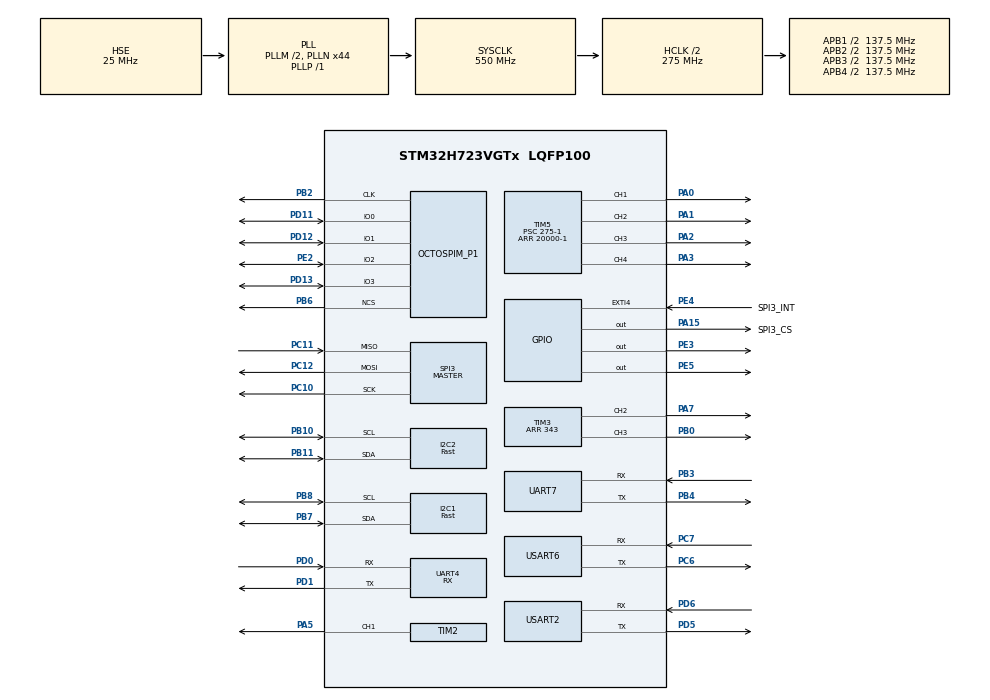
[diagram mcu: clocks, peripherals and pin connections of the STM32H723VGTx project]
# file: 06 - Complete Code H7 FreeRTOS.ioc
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CORTEX_M7.default_mode_Activation=1
Dma.I2C1_RX.2.Direction=DMA_PERIPH_TO_MEMORY
Dma.I2C1_RX.2.EventEnable=DISABLE
Dma.I2C1_RX.2.FIFOMode=DMA_FIFOMODE_DISABLE
Dma.I2C1_RX.2.Instance=DMA1_Stream0
Dma.I2C1_RX.2.MemDataAlignment=DMA_MDATAALIGN_BYTE
Dma.I2C1_RX.2.MemInc=DMA_MINC_ENABLE
Dma.I2C1_RX.2.Mode=DMA_NORMAL
Dma.I2C1_RX.2.PeriphDataAlignment=DMA_PDATAALIGN_BYTE
Dma.I2C1_RX.2.PeriphInc=DMA_PINC_DISABLE
Dma.I2C1_RX.2.Polarity=HAL_DMAMUX_REQ_GEN_RISING
Dma.I2C1_RX.2.Priority=DMA_PRIORITY_LOW
Dma.I2C1_RX.2.RequestNumber=1
Dma.I2C1_RX.2.SignalID=NONE
Dma.I2C1_RX.2.SyncEnable=DISABLE
Dma.I2C1_RX.2.SyncPolarity=HAL_DMAMUX_SYNC_NO_EVENT
Dma.I2C1_RX.2.SyncRequestNumber=1
Dma.I2C1_RX.2.SyncSignalID=NONE
Dma.I2C1_TX.3.Direction=DMA_MEMORY_TO_PERIPH
Dma.I2C1_TX.3.EventEnable=DISABLE
Dma.I2C1_TX.3.FIFOMode=DMA_FIFOMODE_DISABLE
Dma.I2C1_TX.3.Instance=DMA1_Stream1
Dma.I2C1_TX.3.MemDataAlignment=DMA_MDATAALIGN_BYTE
Dma.I2C1_TX.3.MemInc=DMA_MINC_ENABLE
Dma.I2C1_TX.3.Mode=DMA_NORMAL
Dma.I2C1_TX.3.PeriphDataAlignment=DMA_PDATAALIGN_BYTE
Dma.I2C1_TX.3.PeriphInc=DMA_PINC_DISABLE
Dma.I2C1_TX.3.Polarity=HAL_DMAMUX_REQ_GEN_RISING
Dma.I2C1_TX.3.Priority=DMA_PRIORITY_LOW
Dma.I2C1_TX.3.RequestNumber=1
Dma.I2C1_TX.3.SignalID=NONE
Dma.I2C1_TX.3.SyncEnable=DISABLE
Dma.I2C1_TX.3.SyncPolarity=HAL_DMAMUX_SYNC_NO_EVENT
Dma.I2C1_TX.3.SyncRequestNumber=1
Dma.I2C1_TX.3.SyncSignalID=NONE
Dma.I2C2_RX.6.Direction=DMA_PERIPH_TO_MEMORY
Dma.I2C2_RX.6.EventEnable=DISABLE
Dma.I2C2_RX.6.FIFOMode=DMA_FIFOMODE_DISABLE
Dma.I2C2_RX.6.Instance=DMA1_Stream6
Dma.I2C2_RX.6.MemDataAlignment=DMA_MDATAALIGN_BYTE
Dma.I2C2_RX.6.MemInc=DMA_MINC_ENABLE
Dma.I2C2_RX.6.Mode=DMA_NORMAL
Dma.I2C2_RX.6.PeriphDataAlignment=DMA_PDATAALIGN_BYTE
Dma.I2C2_RX.6.PeriphInc=DMA_PINC_DISABLE
Dma.I2C2_RX.6.Polarity=HAL_DMAMUX_REQ_GEN_RISING
Dma.I2C2_RX.6.Priority=DMA_PRIORITY_LOW
Dma.I2C2_RX.6.RequestNumber=1
Dma.I2C2_RX.6.SignalID=NONE
Dma.I2C2_RX.6.SyncEnable=DISABLE
Dma.I2C2_RX.6.SyncPolarity=HAL_DMAMUX_SYNC_NO_EVENT
Dma.I2C2_RX.6.SyncRequestNumber=1
Dma.I2C2_RX.6.SyncSignalID=NONE
Dma.I2C2_TX.7.Direction=DMA_MEMORY_TO_PERIPH
Dma.I2C2_TX.7.EventEnable=DISABLE
Dma.I2C2_TX.7.FIFOMode=DMA_FIFOMODE_DISABLE
Dma.I2C2_TX.7.Instance=DMA1_Stream7
Dma.I2C2_TX.7.MemDataAlignment=DMA_MDATAALIGN_BYTE
Dma.I2C2_TX.7.MemInc=DMA_MINC_ENABLE
Dma.I2C2_TX.7.Mode=DMA_NORMAL
Dma.I2C2_TX.7.PeriphDataAlignment=DMA_PDATAALIGN_BYTE
Dma.I2C2_TX.7.PeriphInc=DMA_PINC_DISABLE
Dma.I2C2_TX.7.Polarity=HAL_DMAMUX_REQ_GEN_RISING
Dma.I2C2_TX.7.Priority=DMA_PRIORITY_LOW
Dma.I2C2_TX.7.RequestNumber=1
Dma.I2C2_TX.7.SignalID=NONE
Dma.I2C2_TX.7.SyncEnable=DISABLE
Dma.I2C2_TX.7.SyncPolarity=HAL_DMAMUX_SYNC_NO_EVENT
Dma.I2C2_TX.7.SyncRequestNumber=1
Dma.I2C2_TX.7.SyncSignalID=NONE
Dma.Request0=SPI3_RX
Dma.Request1=SPI3_TX
Dma.Request2=I2C1_RX
Dma.Request3=I2C1_TX
Dma.Request4=TIM3_CH2
Dma.Request5=TIM3_CH3
Dma.Request6=I2C2_RX
Dma.Request7=I2C2_TX
Dma.SPI3_RX.0.Direction=DMA_PERIPH_TO_MEMORY
Dma.SPI3_RX.0.EventEnable=DISABLE
Dma.SPI3_RX.0.FIFOMode=DMA_FIFOMODE_DISABLE
Dma.SPI3_RX.0.Instance=DMA1_Stream2
Dma.SPI3_RX.0.MemDataAlignment=DMA_MDATAALIGN_BYTE
Dma.SPI3_RX.0.MemInc=DMA_MINC_ENABLE
Dma.SPI3_RX.0.Mode=DMA_NORMAL
Dma.SPI3_RX.0.PeriphDataAlignment=DMA_PDATAALIGN_BYTE
Dma.SPI3_RX.0.PeriphInc=DMA_PINC_DISABLE
Dma.SPI3_RX.0.Polarity=HAL_DMAMUX_REQ_GEN_RISING
Dma.SPI3_RX.0.Priority=DMA_PRIORITY_LOW
Dma.SPI3_RX.0.RequestNumber=1
Dma.SPI3_RX.0.SignalID=NONE
Dma.SPI3_RX.0.SyncEnable=DISABLE
Dma.SPI3_RX.0.SyncPolarity=HAL_DMAMUX_SYNC_NO_EVENT
Dma.SPI3_RX.0.SyncRequestNumber=1
Dma.SPI3_RX.0.SyncSignalID=NONE
Dma.SPI3_TX.1.Direction=DMA_MEMORY_TO_PERIPH
Dma.SPI3_TX.1.EventEnable=DISABLE
Dma.SPI3_TX.1.FIFOMode=DMA_FIFOMODE_DISABLE
Dma.SPI3_TX.1.Instance=DMA1_Stream3
Dma.SPI3_TX.1.MemDataAlignment=DMA_MDATAALIGN_BYTE
Dma.SPI3_TX.1.MemInc=DMA_MINC_ENABLE
Dma.SPI3_TX.1.Mode=DMA_NORMAL
Dma.SPI3_TX.1.PeriphDataAlignment=DMA_PDATAALIGN_BYTE
Dma.SPI3_TX.1.PeriphInc=DMA_PINC_DISABLE
Dma.SPI3_TX.1.Polarity=HAL_DMAMUX_REQ_GEN_RISING
Dma.SPI3_TX.1.Priority=DMA_PRIORITY_LOW
Dma.SPI3_TX.1.RequestNumber=1
Dma.SPI3_TX.1.SignalID=NONE
Dma.SPI3_TX.1.SyncEnable=DISABLE
Dma.SPI3_TX.1.SyncPolarity=HAL_DMAMUX_SYNC_NO_EVENT
Dma.SPI3_TX.1.SyncRequestNumber=1
Dma.SPI3_TX.1.SyncSignalID=NONE
Dma.TIM3_CH2.4.Direction=DMA_MEMORY_TO_PERIPH
Dma.TIM3_CH2.4.EventEnable=DISABLE
Dma.TIM3_CH2.4.FIFOMode=DMA_FIFOMODE_DISABLE
Dma.TIM3_CH2.4.Instance=DMA1_Stream4
Dma.TIM3_CH2.4.MemDataAlignment=DMA_MDATAALIGN_WORD
Dma.TIM3_CH2.4.MemInc=DMA_MINC_ENABLE
Dma.TIM3_CH2.4.Mode=DMA_NORMAL
Dma.TIM3_CH2.4.PeriphDataAlignment=DMA_PDATAALIGN_WORD
Dma.TIM3_CH2.4.PeriphInc=DMA_PINC_DISABLE
Dma.TIM3_CH2.4.Polarity=HAL_DMAMUX_REQ_GEN_RISING
Dma.TIM3_CH2.4.Priority=DMA_PRIORITY_LOW
Dma.TIM3_CH2.4.RequestNumber=1
Dma.TIM3_CH2.4.SignalID=NONE
Dma.TIM3_CH2.4.SyncEnable=DISABLE
Dma.TIM3_CH2.4.SyncPolarity=HAL_DMAMUX_SYNC_NO_EVENT
Dma.TIM3_CH2.4.SyncRequestNumber=1
Dma.TIM3_CH2.4.SyncSignalID=NONE
Dma.TIM3_CH3.5.Direction=DMA_MEMORY_TO_PERIPH
Dma.TIM3_CH3.5.EventEnable=DISABLE
Dma.TIM3_CH3.5.FIFOMode=DMA_FIFOMODE_DISABLE
Dma.TIM3_CH3.5.Instance=DMA1_Stream5
Dma.TIM3_CH3.5.MemDataAlignment=DMA_MDATAALIGN_WORD
Dma.TIM3_CH3.5.MemInc=DMA_MINC_ENABLE
Dma.TIM3_CH3.5.Mode=DMA_NORMAL
Dma.TIM3_CH3.5.PeriphDataAlignment=DMA_PDATAALIGN_WORD
Dma.TIM3_CH3.5.PeriphInc=DMA_PINC_DISABLE
Dma.TIM3_CH3.5.Polarity=HAL_DMAMUX_REQ_GEN_RISING
Dma.TIM3_CH3.5.Priority=DMA_PRIORITY_LOW
Dma.TIM3_CH3.5.RequestNumber=1
Dma.TIM3_CH3.5.SignalID=NONE
Dma.TIM3_CH3.5.SyncEnable=DISABLE
Dma.TIM3_CH3.5.SyncPolarity=HAL_DMAMUX_SYNC_NO_EVENT
Dma.TIM3_CH3.5.SyncRequestNumber=1
Dma.TIM3_CH3.5.SyncSignalID=NONE
FREERTOS.Tasks01=defaultTask,24,128,StartDefaultTask,Default,NULL,Dynamic,NULL,NULL;Task2,24,128,Task2_init,Default,NULL,Dynamic,NULL,NULL
FREERTOS.configUSE_NEWLIB_REENTRANT=1
I2C1.I2C_Speed_Mode=I2C_Fast
I2C1.Timing=0x00D049FB
I2C2.I2C_Speed_Mode=I2C_Fast
I2C2.Timing=0x00D049FB
Mcu.Family=STM32H7
Mcu.Name=STM32H723VGTx
Mcu.Package=LQFP100
NVIC.DMA1_Stream0_IRQn=true\:5\:0\:false\:false\:true\:true\:false\:true\:true
NVIC.DMA1_Stream1_IRQn=true\:5\:0\:false\:false\:true\:true\:false\:true\:true
NVIC.DMA1_Stream2_IRQn=true\:5\:0\:false\:false\:true\:true\:false\:true\:true
NVIC.DMA1_Stream3_IRQn=true\:5\:0\:false\:false\:true\:true\:false\:true\:true
NVIC.DMA1_Stream4_IRQn=true\:5\:0\:false\:false\:true\:true\:false\:true\:true
NVIC.DMA1_Stream5_IRQn=true\:5\:0\:false\:false\:true\:false\:false\:true\:true
NVIC.DMA1_Stream6_IRQn=true\:5\:0\:false\:false\:true\:true\:false\:true\:true
NVIC.DMA1_Stream7_IRQn=true\:5\:0\:false\:false\:true\:true\:false\:true\:true
NVIC.I2C1_ER_IRQn=true\:5\:0\:false\:false\:true\:true\:true\:true\:true
NVIC.I2C1_EV_IRQn=true\:5\:0\:false\:false\:true\:true\:true\:true\:true
NVIC.I2C2_ER_IRQn=true\:5\:0\:false\:false\:true\:true\:true\:true\:true
NVIC.I2C2_EV_IRQn=true\:5\:0\:false\:false\:true\:true\:true\:true\:true
NVIC.PriorityGroup=NVIC_PRIORITYGROUP_4
NVIC.SPI3_IRQn=true\:5\:0\:false\:false\:true\:true\:false\:true\:true
NVIC.TIM1_UP_IRQn=true\:15\:0\:false\:false\:true\:false\:false\:true\:true
NVIC.TIM3_IRQn=true\:5\:0\:false\:false\:true\:true\:true\:true\:true
NVIC.TimeBase=TIM1_UP_IRQn
NVIC.TimeBaseIP=TIM1
NVIC.UART4_IRQn=true\:5\:0\:false\:false\:true\:true\:true\:true\:true
NVIC.UART7_IRQn=true\:5\:0\:false\:false\:true\:true\:true\:true\:true
NVIC.USART6_IRQn=true\:5\:0\:false\:false\:true\:true\:true\:true\:true
OCTOSPI1.ChipSelectHighTime=2
OCTOSPI1.ClockMode=HAL_OSPI_CLOCK_MODE_3
OCTOSPI1.ClockPrescaler=3-1
OCTOSPI1.DeviceSize=23
OCTOSPI1.SampleShifting=HAL_OSPI_SAMPLE_SHIFTING_HALFCYCLE
PA0.Signal=S_TIM5_CH1
PA1.Signal=S_TIM5_CH2
PA15(JTDI).GPIO_Label=SPI3_CS
PA15(JTDI).PinState=GPIO_PIN_SET
PA15(JTDI).Signal=GPIO_Output
PA2.Signal=S_TIM5_CH3
PA3.Signal=S_TIM5_CH4
PA5.Signal=S_TIM2_CH1_ETR
PA7.Signal=S_TIM3_CH2
PB0.Signal=S_TIM3_CH3
PB10.Mode=I2C
PB10.Signal=I2C2_SCL
PB11.Mode=I2C
PB11.Signal=I2C2_SDA
PB2.Mode=O1_P1_CLK
PB2.Signal=OCTOSPIM_P1_CLK
PB3(JTDO/TRACESWO).Mode=Asynchronous
PB3(JTDO/TRACESWO).Signal=UART7_RX
PB4(NJTRST).Mode=Asynchronous
PB4(NJTRST).Signal=UART7_TX
PB6.Mode=OCTOSPI1_Port1_NCS
PB6.Signal=OCTOSPIM_P1_NCS
PB7.Mode=I2C
PB7.Signal=I2C1_SDA
PB8.Mode=I2C
PB8.Signal=I2C1_SCL
PC10.Mode=Full_Duplex_Master
PC10.Signal=SPI3_SCK
PC11.Mode=Full_Duplex_Master
PC11.Signal=SPI3_MISO
PC12.Mode=Full_Duplex_Master
PC12.Signal=SPI3_MOSI
PC6.Mode=Asynchronous
PC6.Signal=USART6_TX
PC7.Mode=Asynchronous
PC7.Signal=USART6_RX
PD0.Mode=Asynchronous
PD0.Signal=UART4_RX
PD1.Mode=Asynchronous
PD1.Signal=UART4_TX
PD11.Mode=OCTOSPI1_IOL_Port1L
PD11.Signal=OCTOSPIM_P1_IO0
PD12.Mode=OCTOSPI1_IOL_Port1L
PD12.Signal=OCTOSPIM_P1_IO1
PD13.Mode=OCTOSPI1_IOL_Port1L
PD13.Signal=OCTOSPIM_P1_IO3
PD5.Mode=Asynchronous
PD5.Signal=USART2_TX
PD6.Mode=Asynchronous
PD6.Signal=USART2_RX
PE2.Mode=OCTOSPI1_IOL_Port1L
PE2.Signal=OCTOSPIM_P1_IO2
PE3.Signal=GPIO_Output
PE4.GPIO_Label=SPI3_INT
PE4.Signal=GPXTI4
PE5.Signal=GPIO_Output
PH0-OSC_IN.Mode=HSE-External-Oscillator
PH0-OSC_IN.Signal=RCC_OSC_IN
PH1-OSC_OUT.Mode=HSE-External-Oscillator
PH1-OSC_OUT.Signal=RCC_OSC_OUT
ProjectManager.HeapSize=0x200
ProjectManager.StackSize=0x400
ProjectManager.TargetToolchain=STM32CubeIDE
RCC.ADCFreq_Value=50390625
RCC.APB1Freq_Value=137500000
RCC.APB2Freq_Value=137500000
RCC.APB3Freq_Value=137500000
RCC.APB4Freq_Value=137500000
RCC.CortexFreq_Value=550000000
RCC.D1PPRE=RCC_APB3_DIV2
RCC.D2PPRE1=RCC_APB1_DIV2
RCC.D2PPRE2=RCC_APB2_DIV2
RCC.D3PPRE=RCC_APB4_DIV2
RCC.DIVM1=2
RCC.DIVN1=44
RCC.DIVP1=1
RCC.DIVQ1=3
RCC.HCLKFreq_Value=275000000
RCC.HPRE=RCC_HCLK_DIV2
RCC.PLL2FRACN=0
RCC.PLL3FRACN=0
RCC.PLLFRACN=0
RCC.PLLSourceVirtual=RCC_PLLSOURCE_HSE
RCC.SYSCLKFreq_VALUE=550000000
RCC.SYSCLKSource=RCC_SYSCLKSOURCE_PLLCLK
RCC.USBFreq_Value=183333333.33333334
SH.S_TIM2_CH1_ETR.0=TIM2_CH1,PWM Generation1 CH1
SH.S_TIM3_CH2.0=TIM3_CH2,PWM Generation2 CH2
SH.S_TIM3_CH3.0=TIM3_CH3,PWM Generation3 CH3
SH.S_TIM5_CH1.0=TIM5_CH1,PWM Generation1 CH1
SH.S_TIM5_CH2.0=TIM5_CH2,PWM Generation2 CH2
SH.S_TIM5_CH3.0=TIM5_CH3,PWM Generation3 CH3
SH.S_TIM5_CH4.0=TIM5_CH4,PWM Generation4 CH4
SPI3.BaudRatePrescaler=SPI_BAUDRATEPRESCALER_8
SPI3.CLKPhase=SPI_PHASE_2EDGE
SPI3.CLKPolarity=SPI_POLARITY_HIGH
SPI3.CalculateBaudRate=22.916666 MBits/s
SPI3.DataSize=SPI_DATASIZE_8BIT
SPI3.Direction=SPI_DIRECTION_2LINES
SPI3.Mode=SPI_MODE_MASTER
SPI3.VirtualType=VM_MASTER
TIM2.AutoReloadPreload=TIM_AUTORELOAD_PRELOAD_ENABLE
TIM2.Channel-PWM\ Generation1\ CH1=TIM_CHANNEL_1
TIM2.OCFastMode_PWM-PWM\ Generation1\ CH1=TIM_OCFAST_ENABLE
TIM2.Period=249
TIM2.Prescaler=546
TIM3.AutoReloadPreload=TIM_AUTORELOAD_PRELOAD_ENABLE
TIM3.Channel-PWM\ Generation2\ CH2=TIM_CHANNEL_2
TIM3.Channel-PWM\ Generation3\ CH3=TIM_CHANNEL_3
TIM3.Period=343
TIM5.AutoReloadPreload=TIM_AUTORELOAD_PRELOAD_ENABLE
TIM5.Channel-PWM\ Generation1\ CH1=TIM_CHANNEL_1
TIM5.Channel-PWM\ Generation2\ CH2=TIM_CHANNEL_2
TIM5.Channel-PWM\ Generation3\ CH3=TIM_CHANNEL_3
TIM5.Channel-PWM\ Generation4\ CH4=TIM_CHANNEL_4
TIM5.OCFastMode_PWM-PWM\ Generation1\ CH1=TIM_OCFAST_ENABLE
TIM5.OCFastMode_PWM-PWM\ Generation2\ CH2=TIM_OCFAST_ENABLE
TIM5.OCFastMode_PWM-PWM\ Generation3\ CH3=TIM_OCFAST_ENABLE
TIM5.OCFastMode_PWM-PWM\ Generation4\ CH4=TIM_OCFAST_ENABLE
TIM5.Period=20000-1
TIM5.Prescaler=275-1
TIM5.Pulse-PWM\ Generation1\ CH1=1000
TIM5.Pulse-PWM\ Generation2\ CH2=1000
TIM5.Pulse-PWM\ Generation3\ CH3=1000
TIM5.Pulse-PWM\ Generation4\ CH4=1000
UART4.Mode=MODE_RX
USART2.VirtualMode-Asynchronous=VM_ASYNC
USART6.VirtualMode=VM_ASYNC
VP_FREERTOS_VS_CMSIS_V2.Mode=CMSIS_V2
VP_MEMORYMAP_VS_MEMORYMAP.Mode=CurAppReg
VP_OCTOSPI1_VS_octo.Mode=octo_mode
VP_SYS_VS_tim1.Mode=TIM1
VP_TIM2_VS_ClockSourceINT.Mode=Internal
VP_TIM3_VS_ClockSourceINT.Mode=Internal
VP_TIM5_VS_ClockSourceINT.Mode=Internal
board=custom

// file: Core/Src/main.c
/* USER CODE BEGIN Header */
/**
  ******************************************************************************
  * @file           : main.c
  * @brief          : Main program body
  ******************************************************************************
  * @attention
  *
  * Copyright (c) 2025 STMicroelectronics.
  * All rights reserved.
  *
  * This software is licensed under terms that can be found in the LICENSE file
  * in the root directory of this software component.
  * If no LICENSE file comes with this software, it is provided AS-IS.
  *
  ******************************************************************************
  */
/* USER CODE END Header */
#include "main.h"
#include "cmsis_os.h"
#include "dma.h"
#include "i2c.h"
#include "octospi.h"
#include "spi.h"
#include "tim.h"
#include "usart.h"
#include "gpio.h"

/* USER CODE BEGIN Includes */
#include <stdio.h>
#include "../ICM42688P/icm42688p.h"
#include "../HMC5883L/hmc5883l.h"
#include "../LED/MAIN_BOARD_RGB/ws2812.h"
#include "targets.h"
#include "../BUZZER/buzzer.h"
#include "../EEPROM/eeprom.h"
#include "../PID/Double Loop PID/pid_controller.h"
#include "../RECEIVER/FS-iA6B/FS-iA6B.h"
#include "../FUSION/COMPLEMENTARY/complementary_filter.h"
#include "../FILTERS/filter.h"
#include "../CALIBRATION/IMU/icm42688p_calibration.h"
#include "../CMD/cmd.h"
#include "cmsis_os.h"
/* USER CODE END Includes */

/* USER CODE BEGIN PTD */

/* *********** USART6 printf function code ************ */

int _write(int file, char* p, int len)
{
    for (int i = 0; i < len; i++) {
        while (!LL_USART_IsActiveFlag_TXE(USART6)) {
            if (LL_USART_IsActiveFlag_ORE(USART6) || LL_USART_IsActiveFlag_FE(USART6)) {
                LL_USART_ClearFlag_ORE(USART6);
                LL_USART_ClearFlag_FE(USART6);
                return -1; // Indicate error
            }
        }
        LL_USART_TransmitData8(USART6, *(p + i));
    }
    while (!LL_USART_IsActiveFlag_TC(USART6)) {}
    return len;
}

/* *********** USART6 printf function code ************ */

/* USER CODE END PTD */

/* USER CODE BEGIN PD */

int16_t accel_raw[3], gyro_raw[3];
float accel_g[3], gyro_dps[3];
int16_t temp_raw;
float temperature;
uint32_t loop_counter = 0;

extern I2C_HandleTypeDef hi2c1;  // Ensure hi2c1 is initialized by CubeMX
HMC5883L_Data_t magData;

volatile uint8_t sensors_ready = 0;
extern TIM_HandleTypeDef htim3;

float dt = 1.0f/1000;

/* USER CODE END PD */

/* USER CODE BEGIN PM */
unsigned char failsafe_flag = 0;
/* USER CODE END PM */

/* USER CODE BEGIN PV */

extern uint8_t uart6_rx_flag;
extern uint8_t uart6_rx_data;
extern uint8_t uart4_rx_flag;
extern uint8_t uart4_rx_data;
extern uint8_t ibus_rx_buf[32];
extern uint8_t ibus_rx_cplt_flag;
extern uint8_t uart7_rx_data;
uint8_t telemetry_tx_buf[20];

extern DMA_HandleTypeDef WS2812_DMA; // DMA handle
extern volatile uint8_t data_sent_flag; // Flag from ws2812.c
extern uint8_t uart7_rx_data;

void eeprom_startup(void);

float eeprom_pid_read[3];
float eeprom_gyro_read[3];
float eeprom_accel_read[3];
float eeprom_mag_read[3];
DualPID_t eeprom_roll_pid_read;
DualPID_t eeprom_pitch_pid_read;
PID_t eeprom_yaw_rate_pid_read;

AircraftLights_t aircraft_lights;

RuntimeDualPID_t roll_pid;
RuntimeDualPID_t pitch_pid;
RuntimePID_t yaw_rate_pid;

HAL_StatusTypeDef status;
float pressure, temperature, altitude;
float ground_pressure = 101325.0f;

unsigned char motor_arming_flag = 0;
unsigned short iBus_SwA_Prev = 0;
unsigned short iBus_rx_cnt = 0;
uint16_t ccr[4];
unsigned short ccr1, ccr2, ccr3, ccr4;

//filter_state_t filter_state;
//filtered_axises filtered_gyro;
//filtered_axises filtered_accel;
//filtered_axises filtered_mag;
Quaternion q;
/* USER CODE END PV */

void SystemClock_Config(void);
static void MPU_Config(void);
void MX_FREERTOS_Init(void);
/* USER CODE BEGIN PFP */

int Is_iBus_Throttle_Min(void);
int Is_iBus_Throttle_Armed(void);
void ESC_Calibration(void);
int Is_iBus_Received(void);

/* USER CODE END PFP */

int main(void)
{

  /* MPU Configuration--------------------------------------------------------*/
  MPU_Config();

  /* MCU Configuration--------------------------------------------------------*/

  /* Reset of all peripherals, Initializes the Flash interface and the Systick. */
  HAL_Init();

  /* Configure the system clock */
  SystemClock_Config();

  /* Initialize all configured peripherals */
  MX_GPIO_Init();
  MX_DMA_Init();
  MX_USART6_UART_Init();
  MX_SPI3_Init();
  MX_I2C1_Init();
  MX_TIM3_Init();
  MX_TIM2_Init();
  MX_OCTOSPI1_Init();
  MX_I2C2_Init();
  MX_UART4_Init();
  MX_TIM5_Init();
  MX_UART7_Init();
  MX_USART2_UART_Init();
  /* USER CODE BEGIN 2 */

  StartupTone();

  LL_USART_EnableIT_RXNE(USART6);
  LL_USART_EnableIT_RXNE_RXFNE(UART4);
  HAL_UART_Receive_IT(&huart7, &uart7_rx_data, 1);

  HAL_Delay(500);

  eeprom_startup();

  // Initialize PID controllers
  pid_init(&roll_pid, &pitch_pid, &yaw_rate_pid,
		  &eeprom_roll_pid_read, &eeprom_pitch_pid_read, &eeprom_yaw_rate_pid_read);

  /* *********** ESC Startup Calibration ************ */
  HAL_Delay(3000);
  HAL_TIM_PWM_Start(&htim5, TIM_CHANNEL_1);
  HAL_TIM_PWM_Start(&htim5, TIM_CHANNEL_2);
  HAL_TIM_PWM_Start(&htim5, TIM_CHANNEL_3);
  HAL_TIM_PWM_Start(&htim5, TIM_CHANNEL_4);
  /* *********** ESC Startup Calibration END ************ */

  /* *********** iBus Calibration Check ************ */
//  while (Is_iBus_Received() == 0) {
//	  Buzzer_On(3000);
//	  HAL_Delay(200);
//	  Buzzer_Off();
//	  HAL_Delay(200);
//  }
//  if (iBus.SwC == 2000) {
//	  Buzzer_On(1500);
//	  HAL_Delay(200);
//	  Buzzer_On(2000);
//	  HAL_Delay(200);
//	  Buzzer_On(1500);
//	  HAL_Delay(200);
//	  Buzzer_On(2000);
//	  HAL_Delay(200);
//	  Buzzer_Off();
//	  ESC_Calibration();
//	  while (iBus.SwC != 1000) {
//		  Is_iBus_Received();
//		  Buzzer_On(1500);
//		  HAL_Delay(200);
//		  Buzzer_On(2000);
//		  HAL_Delay(200);
//		  Buzzer_Off();
//	  }
//  }
  /* *********** iBus Calibration Check END ************ */

  /* *********** iBus Throttle Check ************ */
//  while (Is_iBus_Throttle_Min() == 0 || iBus.SwA == 2000) {
//	  Buzzer_On(343);
//	  HAL_Delay(70);
//	  Buzzer_Off();
//	  HAL_Delay(70);
//  }
//  Buzzer_On(1092);
//  HAL_Delay(100);
//  Buzzer_On(592);
//  HAL_Delay(100);
//  Buzzer_On(292);
//  HAL_Delay(100);
//  Buzzer_Off();
  /* *********** iBus Throttle Check END ************ */

//  LL_TIM_EnableCounter(TIM7);
//  LL_TIM_EnableIT_UPDATE(TIM7);

  /* === Initialize sensors here === */

  /* Initialize ICM42688P */
  if(ICM42688P_Initialization() == 0)
  {
	  printf("=== Sensor Ready - Starting Data Collection ===\n\n");
  }

//  ICM42688P_Calibrate();

  HMC5883L_Init();
  uint8_t hmc_id = HMC5883L_ReadReg(HMC5883L_ID_A);
  printf("HMC5883L ID: %c\n", hmc_id);

  WS2812_Init(&htim3);

  /* USER CODE END 2 */

  /* Init scheduler */
  osKernelInitialize();  /* Call init function for freertos objects (in cmsis_os2.c) */
  MX_FREERTOS_Init();

  /* Start scheduler */
  osKernelStart();

  /* We should never get here as control is now taken by the scheduler */

  /* Infinite loop */
  while (1)
  {

  }
}

void SystemClock_Config(void)
{
  RCC_OscInitTypeDef RCC_OscInitStruct = {0};
  RCC_ClkInitTypeDef RCC_ClkInitStruct = {0};

  /** Supply configuration update enable
  */
  HAL_PWREx_ConfigSupply(PWR_LDO_SUPPLY);

  /** Configure the main internal regulator output voltage
  */
  __HAL_PWR_VOLTAGESCALING_CONFIG(PWR_REGULATOR_VOLTAGE_SCALE0);

  while(!__HAL_PWR_GET_FLAG(PWR_FLAG_VOSRDY)) {}

  /** Initializes the RCC Oscillators according to the specified parameters
  * in the RCC_OscInitTypeDef structure.
  */
  RCC_OscInitStruct.OscillatorType = RCC_OSCILLATORTYPE_HSE;
  RCC_OscInitStruct.HSEState = RCC_HSE_ON;
  RCC_OscInitStruct.PLL.PLLState = RCC_PLL_ON;
  RCC_OscInitStruct.PLL.PLLSource = RCC_PLLSOURCE_HSE;
  RCC_OscInitStruct.PLL.PLLM = 2;
  RCC_OscInitStruct.PLL.PLLN = 44;
  RCC_OscInitStruct.PLL.PLLP = 1;
  RCC_OscInitStruct.PLL.PLLQ = 3;
  RCC_OscInitStruct.PLL.PLLR = 2;
  RCC_OscInitStruct.PLL.PLLRGE = RCC_PLL1VCIRANGE_3;
  RCC_OscInitStruct.PLL.PLLVCOSEL = RCC_PLL1VCOWIDE;
  RCC_OscInitStruct.PLL.PLLFRACN = 0;
  if (HAL_RCC_OscConfig(&RCC_OscInitStruct) != HAL_OK)
  {
    Error_Handler();
  }

  /** Initializes the CPU, AHB and APB buses clocks
  */
  RCC_ClkInitStruct.ClockType = RCC_CLOCKTYPE_HCLK|RCC_CLOCKTYPE_SYSCLK
                              |RCC_CLOCKTYPE_PCLK1|RCC_CLOCKTYPE_PCLK2
                              |RCC_CLOCKTYPE_D3PCLK1|RCC_CLOCKTYPE_D1PCLK1;
  RCC_ClkInitStruct.SYSCLKSource = RCC_SYSCLKSOURCE_PLLCLK;
  RCC_ClkInitStruct.SYSCLKDivider = RCC_SYSCLK_DIV1;
  RCC_ClkInitStruct.AHBCLKDivider = RCC_HCLK_DIV2;
  RCC_ClkInitStruct.APB3CLKDivider = RCC_APB3_DIV2;
  RCC_ClkInitStruct.APB1CLKDivider = RCC_APB1_DIV2;
  RCC_ClkInitStruct.APB2CLKDivider = RCC_APB2_DIV2;
  RCC_ClkInitStruct.APB4CLKDivider = RCC_APB4_DIV2;

  if (HAL_RCC_ClockConfig(&RCC_ClkInitStruct, FLASH_LATENCY_3) != HAL_OK)
  {
    Error_Handler();
  }
}

/* USER CODE BEGIN 4 */

void send_deftask(void)
{
	printf("Hello from deftask\r\n");
//	HAL_GPIO_TogglePin(GPIOE, GPIO_PIN_3);
}

void send_task2(void)
{
//	HAL_GPIO_TogglePin(GPIOx, GPIO_Pin)
}

void send_task3(void)
{
	printf("Hello from Task3\r\n");
}

void run_imu(void) {

	  if(ICM42688P_DataReady() == 1)
	  {
		  LL_GPIO_TogglePin(GPIOC, LL_GPIO_PIN_1);

		  ICM42688P_Get6AxisRawData(accel_raw, gyro_raw);

		  ICM42688P.gyro_x = gyro_raw[0] * 0.061035f;
		  ICM42688P.gyro_y = gyro_raw[1] * 0.061035f;
		  ICM42688P.gyro_z = gyro_raw[2] * 0.061035f;

//		  ICM42688P.gyro_x = gyro_raw[0] * 2000.f / 32768.f;
//		  ICM42688P.gyro_y= gyro_raw[1] * 2000.f / 32768.f;
//		  ICM42688P.gyro_z = gyro_raw[2] * 2000.f / 32768.f;

		  ICM42688P.gyro_x = -ICM42688P.gyro_x;
		  ICM42688P.gyro_z = -ICM42688P.gyro_z;

		  printf("%8.2f, %8.2f, %8.2f\n", ICM42688P.gyro_x, ICM42688P.gyro_y, ICM42688P.gyro_z);
//		  printf("%d,%d,%d\n", (int)(ICM42688P.gyro_x*100), (int)(ICM42688P.gyro_y*100), (int)(ICM42688P.gyro_z*100));
	  }

}

//void run_imu(void) {
//
//	if(ICM42688P_DataReady() == 1)
//	{
//		LL_GPIO_TogglePin(GPIOE, LL_GPIO_PIN_3);
//		// Update all sensor data in the global structure
//		ICM42688P_UpdateAllData();
//		float accel_g[3], gyro_dps[3];
//		ICM42688P_GetCalibratedData(accel_g, gyro_dps);
//
//
//		// Print data every 100 loops (reduces output spam)
//
////		printf("=== Sensor Data (Loop %lu) ===\n", loop_counter);
////
////		// Print raw values
////		printf("Raw Data:\n");
////		printf("  Accel: X=%6d, Y=%6d, Z=%6d\n",
////				ICM42688P.acc_x_raw, ICM42688P.acc_y_raw, ICM42688P.acc_z_raw);
////		printf("  Gyro:  X=%6d, Y=%6d, Z=%6d\n",
////				ICM42688P.gyro_x_raw, ICM42688P.gyro_y_raw, ICM42688P.gyro_z_raw);
////		printf("  Temp:  %d\n", ICM42688P.temperature_raw);
////
////		// Print converted values (physical units)
////		printf("Converted Data:\n");
////		printf("  Accel: X=%7.3f g, Y=%7.3f g, Z=%7.3f g\n",
////				ICM42688P.acc_x, ICM42688P.acc_y, ICM42688P.acc_z);
////		printf("  Gyro:  X=%8.2f°/s, Y=%8.2f°/s, Z=%8.2f°/s\n",
////				ICM42688P.gyro_x, ICM42688P.gyro_y, ICM42688P.gyro_z);
////		printf("  Temp:  %.1f°C\n", ICM42688P.temperature);
//
////		printf("Accel: X=%7.3f g, Y=%7.3f g, Z=%7.3f g || Gyro:  X=%8.2f°/s, Y=%8.2f°/s, Z=%8.2f°/s || Temp:  %.1f°C\n",
////				ICM42688P.acc_x, ICM42688P.acc_y, ICM42688P.acc_z, ICM42688P.gyro_x, ICM42688P.gyro_y, ICM42688P.gyro_z, ICM42688P.temperature);
//
////		printf("Accel: %.3f, %.3f, %.3f g || Gyro: %.3f, %.3f, %.3f dps || Temp: %.2f°C\n",
////				accel_g[0], accel_g[1], accel_g[2],
////				gyro_dps[0], gyro_dps[1], gyro_dps[2],
////				ICM42688P.temperature);
//
//		printf("%.3f %.3f %.3f\n",
//				gyro_dps[0], gyro_dps[1], gyro_dps[2]);
////		printf("  Temp:  %.2f°C\n", ICM42688P.temperature);
//
//	}
//
//}

void run_mag(void)
{

	if (!sensors_ready) return;

    HMC5883L_ProcessMagData();   // Reads raw data into hmc_data
    Compass_Data_t *compass = HMC5883L_GetCompassData();

    printf("Mag: %.2f %.2f %.2f | Heading: %.2f°\r\n",
           hmc_data.mag_x, hmc_data.mag_y, hmc_data.mag_z,
           compass->heading);
}

void sensor_init(void){

    // === Initialize HMC5883L ===
    HMC5883L_Init();
    uint8_t hmc_id = HMC5883L_ReadReg(HMC5883L_ID_A);
    printf("HMC5883L ID: %c\r\n", hmc_id);

    WS2812_Init(&WS2812_TIMER);

//    filters_init(&filter_state);
    ComplementaryFilter_Init(&q);

    printf("Sensor initialization complete. Deleting InitTask...\r\n");

    sensors_ready = 1;

//    system_startup();

}

void system_startup(void) {

	while (Is_iBus_Throttle_Armed() == 0) {
//		calibration_task();
//		if (is_cmd_mode()) {
//			continue;
//		}

	}

	/* *********** iBus Throttle Check ************ */
	while (Is_iBus_Throttle_Min() == 0 || iBus.SwA != 2000) {
		Buzzer_On(1200);
		HAL_Delay(300);
		Buzzer_Off();
		HAL_Delay(70);
	}
	Buzzer_On(1092);
	HAL_Delay(100);
	Buzzer_On(592);
	HAL_Delay(100);
	Buzzer_On(292);
	HAL_Delay(100);
	Buzzer_Off();
	/* *********** iBus Throttle Check END ************ */

}

void eeprom_startup(void){

	if (EEPROM_Init() != W25Qxx_OK) {
		printf("EEPROM Init Failed\r\n");
		while(1)
		{
			Buzzer_On(500);
			HAL_Delay(200);
			Buzzer_Off();
			HAL_Delay(200);
			Buzzer_On(500);
			HAL_Delay(200);
			Buzzer_Off();
			HAL_Delay(200);
		}
		Error_Handler();
	}

	DroneConfig_t config;

	printf("================= Connecting to EEPROM =================\n"
			"\r\n");

	if (EEPROM_ReadConfig(&config) == W25Qxx_OK) {
		printf("Config Loaded: Flight Mode %d, PID P: %.2f\r\n",
				config.flight_mode, config.pid[0]);
	} else {
		printf("No valid config found, loading defaults\r\n");
		DroneConfig_t default_config = {
				.accel_cal = {0.030256f, -0.026638f, -0.122559f},
				.gyro_cal = {0.016646f, 0.173536f, -0.355303f},
				.mag_cal = {1.50f, -1.50f, 0.50f},
				.pid = {1.0f, 0.1f, 0.5f},
				.flight_mode = 0,
				.gps_lat = 0.0f,
				.gps_lon = 0.0f,
				.gps_alt = 0.0f,
				.roll_pid = {
						.out = {0.62f, 0.01f, 0.10f},
						.in = {0.30f, 0.07f, 0.010f}
				},
				.pitch_pid = {
						.out = {0.62f, 0.01f, 0.10f},
						.in = {0.30f, 0.07f, 0.010f}
				},
				.yaw_rate_pid = {0.2f, 0.01f, 0.003f},
				.lights = {
						.rgb = {{255, 0, 0}, {0, 255, 0}, {0, 0, 255}, {255, 255, 255}},
						.mode = 0
				},
				.crc = 0
		};
		default_config.crc = CalculateCRC32((uint8_t*)&default_config, sizeof(DroneConfig_t) - sizeof(uint32_t));
		if (EEPROM_WriteConfig(&default_config) != W25Qxx_OK) {
			printf("Failed to write default config\r\n");
			Error_Handler();
		}
		printf("Default config written and verified\r\n");
	}

	if (EEPROM_GetPID(eeprom_pid_read) == W25Qxx_OK) {
		printf("EEPROM PID read: P=%.2f, I=%.2f, D=%.2f\r\n",
				eeprom_pid_read[0], eeprom_pid_read[1], eeprom_pid_read[2]);
	} else {
		printf("Failed to read PID\r\n");
	}

	if (EEPROM_GetGyroCalibration(eeprom_gyro_read) == W25Qxx_OK) {
		printf("EEPROM Gyro read: X=%.2f, Y=%.2f, Z=%.2f\r\n",
				eeprom_gyro_read[0], eeprom_gyro_read[1], eeprom_gyro_read[2]);
	} else {
		printf("Failed to read EEPROM Gyro Data\r\n");
	}

	if (EEPROM_GetAccelCalibration(eeprom_accel_read) == W25Qxx_OK) {
		printf("EEPROM Accel read: X=%.2f, Y=%.2f, Z=%.2f\r\n",
				eeprom_accel_read[0], eeprom_accel_read[1], eeprom_accel_read[2]);
	} else {
		printf("Failed to read EEPROM Accel Data\r\n");
	}

	if (EEPROM_GetMagCalibration(eeprom_mag_read) == W25Qxx_OK) {
		printf("EEPROM Mag read: X=%.2f, Y=%.2f, Z=%.2f\r\n",
				eeprom_mag_read[0], eeprom_mag_read[1], eeprom_mag_read[2]);
	} else {
		printf("Failed to read EEPROM Mag Data\r\n");
	}

	if (EEPROM_GetRollPID(&eeprom_roll_pid_read) == W25Qxx_OK) {
		printf("Roll PID: Out P=%.3f, I=%.3f, D=%.3f, In P=%.3f, I=%.3f, D=%.3f\r\n",
				eeprom_roll_pid_read.out.kp, eeprom_roll_pid_read.out.ki, eeprom_roll_pid_read.out.kd,
				eeprom_roll_pid_read.in.kp, eeprom_roll_pid_read.in.ki, eeprom_roll_pid_read.in.kd);
	} else {
		printf("Failed to read Roll PID\r\n");
	}

	if (EEPROM_GetPitchPID(&eeprom_pitch_pid_read) == W25Qxx_OK) {
		printf("Pitch PID: Out P=%.3f, I=%.3f, D=%.3f, In P=%.3f, I=%.3f, D=%.3f\r\n",
				eeprom_pitch_pid_read.out.kp, eeprom_pitch_pid_read.out.ki, eeprom_pitch_pid_read.out.kd,
				eeprom_pitch_pid_read.in.kp, eeprom_pitch_pid_read.in.ki, eeprom_pitch_pid_read.in.kd);
	} else {
		printf("Failed to read Pitch PID\r\n");
	}

	if (EEPROM_GetYawRatePID(&eeprom_yaw_rate_pid_read) == W25Qxx_OK) {
		printf("Yaw Rate PID: P=%.3f, I=%.3f, D=%.3f\r\n",
				eeprom_yaw_rate_pid_read.kp, eeprom_yaw_rate_pid_read.ki, eeprom_yaw_rate_pid_read.kd);
	} else {
		printf("Failed to read Yaw Rate PID\r\n");
	}

	if (EEPROM_GetAircraftLights(&aircraft_lights) == W25Qxx_OK) {
		printf("Lights: LED1(R=%d,G=%d,B=%d), LED2(R=%d,G=%d,B=%d), LED3(R=%d,G=%d,B=%d), LED4(R=%d,G=%d,B=%d), Mode=%d\r\n",
				aircraft_lights.rgb[0][0], aircraft_lights.rgb[0][1], aircraft_lights.rgb[0][2],
				aircraft_lights.rgb[1][0], aircraft_lights.rgb[1][1], aircraft_lights.rgb[1][2],
				aircraft_lights.rgb[2][0], aircraft_lights.rgb[2][1], aircraft_lights.rgb[2][2],
				aircraft_lights.rgb[3][0], aircraft_lights.rgb[3][1], aircraft_lights.rgb[3][2],
				aircraft_lights.mode);
	} else {
		printf("Failed to read Aircraft Lights\r\n");
	}

	printf("\r\n"
			"================= EEPROM Data Fetched =================\n"
			"\r\n");

}

int Is_iBus_Throttle_Min(void) {
    if (ibus_rx_cplt_flag == 1) {
        ibus_rx_cplt_flag = 0;
        if (iBus_Check_CHKSUM(&ibus_rx_buf[0], 32) == 1) {
            iBus_Parsing(&ibus_rx_buf[0], &iBus);
            if (iBus.LV < 1010)
                return 1;
        }
    }
    return 0;
}

void mixer_run(void) {

	// Motor mixing
	if (motor_arming_flag == 1 && failsafe_flag == 0) {
//		motor_mixing(roll_out, pitch_out, yaw_out, throttle, ccr);

		ccr1 = 1050 + ((iBus.LV - 1000) * 950) / 1000;
		ccr2 = 1050 + ((iBus.LV - 1000) * 950) / 1000;
		ccr3 = 1050 + ((iBus.LV - 1000) * 950) / 1000;
		ccr4 = 1050 + ((iBus.LV - 1000) * 950) / 1000;

		TIM5->CCR1 = ccr1;
		TIM5->CCR2 = ccr2;
		TIM5->CCR3 = ccr3;
		TIM5->CCR4 = ccr4;
	} else {
		TIM5->CCR1 = 1000;
		TIM5->CCR2 = 1000;
		TIM5->CCR3 = 1000;
		TIM5->CCR4 = 1000;
	}

	HAL_GPIO_TogglePin(GPIOE, GPIO_PIN_3);

	if (iBus.SwA == 2000 && iBus_SwA_Prev != 2000) {
		if (iBus.LV < 1010) {
			motor_arming_flag = 1;
		}
	}
	iBus_SwA_Prev = iBus.SwA;

	if (iBus.SwA != 2000) {
		motor_arming_flag = 0;
	}

	if (ibus_rx_cplt_flag == 1) {
		ibus_rx_cplt_flag = 0;
		if (iBus_Check_CHKSUM(&ibus_rx_buf[0], 32) == 1) {
			//			main_led(0, 0, 255, 0, 0.3);
			//			main_led(0, 0, 255, 0, 0.0);
			iBus_Parsing(&ibus_rx_buf[0], &iBus);
			iBus_rx_cnt++;
			if (iBus_isActiveFailsafe(&iBus) == 1) {
				failsafe_flag = 1;
				Buzzer_On(292);
				HAL_Delay(50);
				Buzzer_Off();
			} else {
				failsafe_flag = 0;
				Buzzer_Off();
			}
		}
	}

	if (failsafe_flag == 1 || failsafe_flag == 2) {
		Buzzer_On(292);
		HAL_Delay(50);
		Buzzer_Off();
	}

}

void FSiA6B_Print(void) {
	printf("%d\t%d\t%d\t%d\t%d\t%d\t%d\t%d\t%d\t%d\t\n",
			iBus.RH, iBus.RV, iBus.LV, iBus.LH, iBus.SwA, iBus.SwB, iBus.SwC, iBus.SwD, iBus.VrA, iBus.VrB);
}

void FailSafe_1000Hz(void) {

	if (iBus_rx_cnt == 0) {
		failsafe_flag = 2;
	}
	iBus_rx_cnt = 0;
}

int Is_iBus_Throttle_Armed(void) {
    if (ibus_rx_cplt_flag == 1) {
        ibus_rx_cplt_flag = 0;
        if (iBus_Check_CHKSUM(&ibus_rx_buf[0], 32) == 1) {
            iBus_Parsing(&ibus_rx_buf[0], &iBus);
            if (iBus.SwA >= 1900)
                return 1;
        }
    }
    return 0;
}

void ESC_Calibration(void) {
    TIM5->CCR1 = 2000;
    TIM5->CCR2 = 2000;
    TIM5->CCR3 = 2000;
    TIM5->CCR4 = 2000;
    HAL_Delay(7000);
    TIM5->CCR1 = 1000;
    TIM5->CCR2 = 1000;
    TIM5->CCR3 = 1000;
    TIM5->CCR4 = 1000;
    HAL_Delay(8000);
}

int Is_iBus_Received(void) {
    if (ibus_rx_cplt_flag == 1) {
        ibus_rx_cplt_flag = 0;
        if (iBus_Check_CHKSUM(&ibus_rx_buf[0], 32) == 1) {
            iBus_Parsing(&ibus_rx_buf[0], &iBus);
            return 1;
        }
    }
    return 0;
}

void fusion(void){

	if(ICM42688P_DataReady() == 1)
	{

	}

}

void HAL_UART_RxCpltCallback(UART_HandleTypeDef *huart) {
    if (huart->Instance == UART7) {
        HAL_UART_Receive_IT(&huart7, &uart7_rx_data, 1);
    }
}

void check_command_timeout(void) {
    if (cmd_receiving && !is_cmd_mode()) { // Only in normal mode
        TickType_t now = xTaskGetTickCount();

        if ((now - last_char_time) > pdMS_TO_TICKS(CMD_TIMEOUT_MS)) {
            cmd_receiving = 0;
            cmd_index = 0;
            printf("Main: Command timeout at %lu ms\n", (unsigned long)(now * portTICK_PERIOD_MS));
//            WS2812_Update();
        }
    }
}

void cmd_mode_check(void) {
    TickType_t last_2ms   = xTaskGetTickCount();
    TickType_t last_20ms  = last_2ms;
    TickType_t last_100ms = last_2ms;
    TickType_t last_loop_print = 0;

    while (Is_iBus_Throttle_Armed() == 0) {
        TickType_t now = xTaskGetTickCount();

        // Debug print every 1s
        if ((now - last_loop_print) >= pdMS_TO_TICKS(1000)) {
            last_loop_print = now;
            // printf("Waiting for throttle...\n");
        }

//        calibration_task(); // Always run

        if (is_cmd_mode()) {
            vTaskDelay(pdMS_TO_TICKS(1));
            continue;
        }

        // 20ms periodic replacement for tim7_20ms_flag
        if ((now - last_20ms) >= pdMS_TO_TICKS(20) &&
            (now - last_100ms) < pdMS_TO_TICKS(100)) {
            last_20ms = now;
            check_command_timeout();
        }

        // 2ms periodic replacement for tim7_2ms_flag
        if ((now - last_2ms) >= pdMS_TO_TICKS(2)) {
            last_2ms = now;

        }

        // Optional: 100ms periodic work
        if ((now - last_100ms) >= pdMS_TO_TICKS(100)) {
            last_100ms = now;
        }

        // Give FreeRTOS time to run other system tasks
        vTaskDelay(pdMS_TO_TICKS(1));
    }
}

/* USER CODE END 4 */

 /* MPU Configuration */

void MPU_Config(void)
{
  MPU_Region_InitTypeDef MPU_InitStruct = {0};

  /* Disables the MPU */
  HAL_MPU_Disable();

  /** Initializes and configures the Region and the memory to be protected
  */
  MPU_InitStruct.Enable = MPU_REGION_ENABLE;
  MPU_InitStruct.Number = MPU_REGION_NUMBER0;
  MPU_InitStruct.BaseAddress = 0x0;
  MPU_InitStruct.Size = MPU_REGION_SIZE_4GB;
  MPU_InitStruct.SubRegionDisable = 0x87;
  MPU_InitStruct.TypeExtField = MPU_TEX_LEVEL0;
  MPU_InitStruct.AccessPermission = MPU_REGION_NO_ACCESS;
  MPU_InitStruct.DisableExec = MPU_INSTRUCTION_ACCESS_DISABLE;
  MPU_InitStruct.IsShareable = MPU_ACCESS_SHAREABLE;
  MPU_InitStruct.IsCacheable = MPU_ACCESS_NOT_CACHEABLE;
  MPU_InitStruct.IsBufferable = MPU_ACCESS_NOT_BUFFERABLE;

  HAL_MPU_ConfigRegion(&MPU_InitStruct);
  /* Enables the MPU */
  HAL_MPU_Enable(MPU_PRIVILEGED_DEFAULT);

}

void HAL_TIM_PeriodElapsedCallback(TIM_HandleTypeDef *htim)
{
  if (htim->Instance == TIM1)
  {
    HAL_IncTick();
  }
}

void Error_Handler(void)
{
  __disable_irq();
  while (1)
  {
  }
}

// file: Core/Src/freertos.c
/* USER CODE BEGIN Header */
/**
  ******************************************************************************
  * @file           : freertos.c
  * @brief          : Code for freertos applications
  ******************************************************************************
  * @attention
  *
  * Copyright (c) 2025 STMicroelectronics.
  * All rights reserved.
  *
  * This software is licensed under terms that can be found in the LICENSE file
  * in the root directory of this software component.
  * If no LICENSE file comes with this software, it is provided AS-IS.
  *
  ******************************************************************************
  */
/* USER CODE END Header */

#include "FreeRTOS.h"
#include "task.h"
#include "main.h"
#include "cmsis_os.h"

/* USER CODE BEGIN Includes */
#include <stdio.h>
#include "../ICM42688P/icm42688p.h"
#include "semphr.h"
#include "../LED/MAIN_BOARD_RGB/ws2812.h"
#include "../LED/AIRCRAFTLIGHTS/AircraftLights.h"
#include "../CMD/cmd.h"
/* USER CODE END Includes */

/* USER CODE BEGIN PD */
SemaphoreHandle_t spiDmaSem;
SemaphoreHandle_t ws2812_dma_semaphore;
SemaphoreHandle_t aircraftlights_dma_semaphore;

/* The semaphore given by the EXTI ISR when the ICM42688P DRDY line pulses.
   Defined in icm42688p.c as: SemaphoreHandle_t icmIntSem = NULL;
   We declare it extern here so we can create it in MX_FREERTOS_Init(). */

void run_imu(void);
extern void run_imu(void);
extern void run_mag(void);
extern void sensor_init(void);
extern void eeprom_startup(void);
void InitTask(void *argument);
/* USER CODE END PD */

/* USER CODE BEGIN Variables */

/* --- Task3 (IMU Read Task) --- */
/* Increased stack size for safety (printf/HAL calls) */
osThreadId_t Task_1khzHandle;
const osThreadAttr_t Task_1khz_attributes = {
  .name = "Task_1khz",
  .stack_size = 512 * 4,                /* increased from 256*4 */
  .priority = (osPriority_t) osPriorityAboveNormal,
};

osThreadId_t Task_100HzHandle;
const osThreadAttr_t Task_100Hz_attributes = {
  .name = "Task_100Hz",
  .stack_size = 256 * 4,
  .priority = (osPriority_t) osPriorityNormal5,
};

osThreadId_t Task_50HzHandle;
const osThreadAttr_t Task_50Hz_attributes = {
  .name = "Task_50Hz",
  .stack_size = 256 * 4,
  .priority = (osPriority_t) osPriorityNormal4,
};

/* --- InitTask (Initialization) --- */
osThreadId_t InitTaskHandle;
const osThreadAttr_t InitTask_attributes = {
  .name = "InitTask",
  .stack_size = 256 * 4,
  .priority = (osPriority_t) osPriorityHigh,
};

/* --- LedTask (WS2812 LED Task) --- */
osThreadId_t LedTaskHandle;
const osThreadAttr_t LedTask_attributes = {
  .name = "LedTask",
  .stack_size = 256 * 4,
  .priority = (osPriority_t) osPriorityNormal,
};

/* --- AircraftLights Task --- */
osThreadId_t AircraftLightsTaskHandle;
const osThreadAttr_t AircraftLightsTask_attributes = {
  .name = "AircraftLightsTask",
  .stack_size = 256 * 4,
  .priority = (osPriority_t) osPriorityBelowNormal,
};

/* USER CODE END Variables */
/* Definitions for defaultTask */
osThreadId_t defaultTaskHandle;
const osThreadAttr_t defaultTask_attributes = {
  .name = "defaultTask",
  .stack_size = 128 * 4,
  .priority = (osPriority_t) osPriorityNormal,
};
/* Definitions for Task2 */
osThreadId_t Task2Handle;
const osThreadAttr_t Task2_attributes = {
  .name = "Task2",
  .stack_size = 128 * 4,
  .priority = (osPriority_t) osPriorityNormal,
};

/* USER CODE BEGIN FunctionPrototypes */
void Task_1khz_init(void *argument);
void Task_100Hz_init(void *argument);
void Task_50Hz_init(void *argument);
void LedTask(void *argument);
void AircraftLightsTask(void *argument);
/* USER CODE END FunctionPrototypes */

void StartDefaultTask(void *argument);
void Task2_init(void *argument);

void MX_FREERTOS_Init(void); /* (MISRA C 2004 rule 8.1) */

void MX_FREERTOS_Init(void) {
  /* USER CODE BEGIN Init */
  /* Create InitTask first (it's fine to create before semaphores as we create semaphores
     below before the scheduler starts). */
  InitTaskHandle = osThreadNew(InitTask, NULL, &InitTask_attributes);
  /* USER CODE END Init */

  /* USER CODE BEGIN RTOS_MUTEX */
  /* Add mutexes if required */
  /* USER CODE END RTOS_MUTEX */

  /* USER CODE BEGIN RTOS_SEMAPHORES */

  ws2812_dma_semaphore = xSemaphoreCreateBinary();
  if (ws2812_dma_semaphore == NULL) {
      Error_Handler();
  }

  aircraftlights_dma_semaphore = xSemaphoreCreateBinary();
  if (aircraftlights_dma_semaphore == NULL) {
      Error_Handler();
  }

  /* USER CODE END RTOS_SEMAPHORES */

  /* USER CODE BEGIN RTOS_TIMERS */
  /* Start timers, add new ones if required */
  /* USER CODE END RTOS_TIMERS */

  /* USER CODE BEGIN RTOS_QUEUES */
  /* Add queues if required */
  /* USER CODE END RTOS_QUEUES */

  /* Create the thread(s) */
  /* creation of defaultTask */
  defaultTaskHandle = osThreadNew(StartDefaultTask, NULL, &defaultTask_attributes);

  /* creation of Task2 */
  Task2Handle = osThreadNew(Task2_init, NULL, &Task2_attributes);

  /* USER CODE BEGIN RTOS_THREADS */
  Task_1khzHandle = osThreadNew(Task_1khz_init, NULL, &Task_1khz_attributes);

  Task_100HzHandle = osThreadNew(Task_100Hz_init, NULL, &Task_100Hz_attributes);

  Task_50HzHandle = osThreadNew(Task_50Hz_init, NULL, &Task_50Hz_attributes);

  LedTaskHandle = osThreadNew(LedTask, NULL, &LedTask_attributes);
  osThreadSuspend(LedTaskHandle);

  AircraftLightsTaskHandle = osThreadNew(AircraftLightsTask, NULL, &AircraftLightsTask_attributes);
  osThreadSuspend(AircraftLightsTaskHandle);  // Start suspended, resume after init

  /* USER CODE END RTOS_THREADS */

  /* USER CODE BEGIN RTOS_EVENTS */
  /* Add event groups if required */
  /* USER CODE END RTOS_EVENTS */

}

void StartDefaultTask(void *argument)
{
  /* USER CODE BEGIN StartDefaultTask */
  for(;;) {
//    HAL_GPIO_TogglePin(GPIOE, GPIO_PIN_3);
    osDelay(800);
  }
  /* USER CODE END StartDefaultTask */
}

void Task2_init(void *argument)
{
  /* USER CODE BEGIN Task2_init */
  for(;;) {
    HAL_GPIO_TogglePin(GPIOE, GPIO_PIN_5);
    osDelay(500);
  }
  /* USER CODE END Task2_init */
}

/* USER CODE BEGIN Application */

/**
  * @brief Task3: IMU data acquisition (interrupt-driven)
  *
  * This task blocks on icmIntSem which is given from the EXTI ISR when the
  * ICM42688P's DRDY/INT pin pulses. After waking it calls fusion() which
  * performs the read/process (unchanged behavior).
  */
void Task_1khz_init(void *argument)
{
	for(;;) {

		run_imu();
		osDelay(1);

    }
}

void Task_100Hz_init(void *argument)
{
	for(;;) {

//		run_mag();
//		FSiA6B_Print();
		osDelay(100);

	}
}

void Task_50Hz_init(void *argument)
{
	for(;;) {
//		printf("Hello, World\n");

		osDelay(20);
	}
}

void Task_1000Hz_init(void *argument)
{
	for(;;) {
		FailSafe_1000Hz();
		osDelay(1000);
	}
}
/**
  * @brief InitTask: Initializes sensors & WS2812
  */
void InitTask(void *argument)
{
    printf("Starting sensor initialization...\r\n");

    /* Suspend IMU loop while we init hardware */
    osThreadSuspend(Task_1khzHandle);
    osDelay(200);

    /* Initialize sensors (this will call ICM42688P_Init, which enables DRDY on the IMU) */
    sensor_init();
    printf("Sensor initialization complete.\r\n");

    /* Initialize WS2812 and AircraftLights using same timer (htim3) */
    extern TIM_HandleTypeDef htim3;
    WS2812_Init(&htim3);
    printf("WS2812 LED Driver Initialized.\r\n");

    AIRCRAFTLIGHTS_Init(&htim3);
    printf("AircraftLights Driver Initialized.\r\n");

    cmd_mode_check();

    /* Resume tasks that were suspended during init */
    osThreadResume(Task_1khzHandle);
    osThreadResume(LedTaskHandle);
    osThreadResume(AircraftLightsTaskHandle);

    printf("InitTask complete. Deleting InitTask...\r\n");
    osThreadTerminate(InitTaskHandle);
}

/**
  * @brief LedTask: Controls WS2812 LED
  */
void LedTask(void *argument)
{
    for(;;) {

    	main_led(0, 0, 0, 0, 1.0);
    	main_led_update();

    	vTaskDelay(pdMS_TO_TICKS(500));

    	main_led(0, 255, 0, 0, 1.0);
    	main_led_update();

    	vTaskDelay(pdMS_TO_TICKS(30));

    }
}

/**
  * @brief AircraftLightsTask: Controls Aircraft Lights
  */
void AircraftLightsTask(void *argument)
{
    for(;;) {

    	aircraftlights(0, 255, 0, 0, 1.0);  // Red
    	aircraftlights(1, 0, 255, 0, 1.0);  // Green
    	aircraftlights(2, 0, 255, 0, 1.0);  // Green
    	aircraftlights(3, 255, 0, 0, 1.0);  // Red
    	aircraftlights_update();

    	vTaskDelay(pdMS_TO_TICKS(2000));

    	aircraftlights(0, 255, 255, 255, 1.0);
    	aircraftlights(3, 255, 255, 255, 1.0);
    	aircraftlights_update();

    	vTaskDelay(pdMS_TO_TICKS(35));

    	aircraftlights(0, 255, 0, 0, 1.0);
    	aircraftlights(3, 255, 0, 0, 1.0);
    	aircraftlights_update();

    	vTaskDelay(pdMS_TO_TICKS(35));

    	aircraftlights(0, 255, 255, 255, 1.0);
    	aircraftlights(3, 255, 255, 255, 1.0);
    	aircraftlights_update();

    	vTaskDelay(pdMS_TO_TICKS(35));

    	aircraftlights(0, 255, 0, 0, 1.0);
    	aircraftlights(3, 255, 0, 0, 1.0);
    	aircraftlights_update();

    	vTaskDelay(pdMS_TO_TICKS(35));

    }
}

/* USER CODE END Application */
